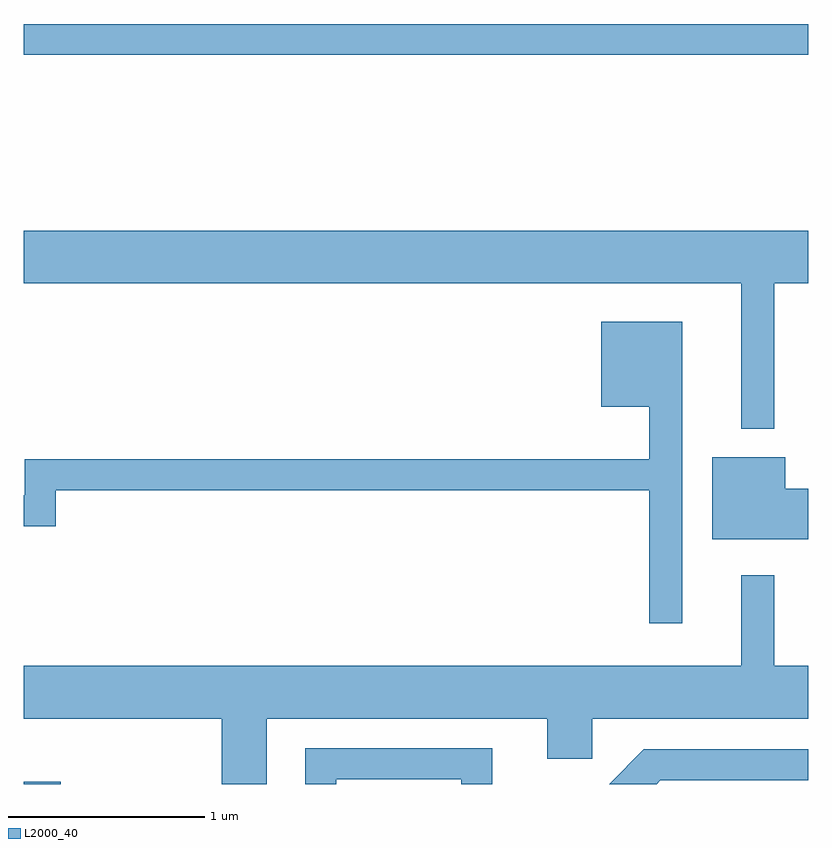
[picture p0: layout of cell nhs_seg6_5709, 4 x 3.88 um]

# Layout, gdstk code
import gdstk
lib = gdstk.Library(unit=1e-6, precision=1e-09)
def R(c, l, rs):  # rectangles x0, y0, x1, y1
    for r in rs: c.add(gdstk.rectangle(r[:2], r[2:], *l))
def P(c, l, *ps):  # polygons
    for p in ps: c.add(gdstk.Polygon(p, *l))
L2000_40 = (2000, 40)

nhs_seg6_5709 = lib.new_cell('nhs_seg6_5709')
R(nhs_seg6_5709, L2000_40, [(359.611,1534.162,359.799,1534.174), (359.611,1537.881,363.611,1538.039)])
P(nhs_seg6_5709, L2000_40, [(363.439,1536.716),(363.611,1536.716),(363.611,1536.984),(359.611,1536.984),(359.611,1536.716),(363.271,1536.716),(363.271,1535.973),(363.439,1535.973)],
  [(362.969,1536.519),(362.556,1536.519),(362.556,1536.086),(362.801,1536.086),(362.801,1535.819),(359.616,1535.819),(359.616,1535.634),(359.611,1535.634),(359.611,1535.476),(359.774,1535.476),(359.774,1535.661),(362.801,1535.661),(362.801,1534.983),(362.969,1534.983)],
  [(363.611,1535.669),(363.494,1535.669),(363.494,1535.829),(363.121,1535.829),(363.121,1535.411),(363.611,1535.411)],
  [(359.611,1534.496),(360.621,1534.496),(360.621,1534.162),(360.849,1534.162),(360.849,1534.496),(362.281,1534.496),(362.281,1534.291),(362.509,1534.291),(362.509,1534.496),(363.611,1534.496),(363.611,1534.764),(363.439,1534.764),(363.439,1535.228),(363.271,1535.228),(363.271,1534.764),(359.611,1534.764)],
  [(361.204,1534.186),(361.841,1534.186),(361.841,1534.162),(361.999,1534.162),(361.999,1534.344),(361.046,1534.344),(361.046,1534.162),(361.204,1534.162)],
  [(362.857,1534.181),(363.611,1534.181),(363.611,1534.339),(362.774,1534.339),(362.597,1534.162),(362.838,1534.162)])

lib.write_gds('nhs_seg6_5709.gds')
